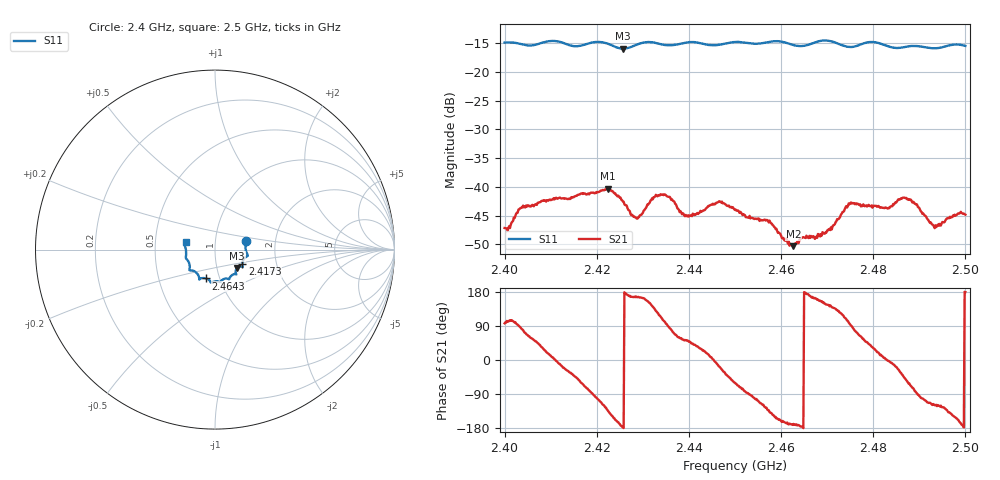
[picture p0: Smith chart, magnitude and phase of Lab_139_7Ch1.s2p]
# Hz S RI R 50
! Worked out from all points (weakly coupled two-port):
!   601 points, 2.4 GHz to 2.5 GHz, reference 50 ohm
!   highest |S21| = -40.33 dB at 2.4223 GHz (marker M1); lowest = -50.3 dB at 2.4627 GHz (marker M2)
!   lowest |S11| = -15.9 dB at 2.4257 GHz (marker M3), VSWR 1.38, Z = 62.4 - j13.1 ohm
!   |S11| at or under -10 dB: start of sweep to end of sweep
!   S12 and S22 are empty: the file has one direction only
!   S11 on the Smith chart (normalised r, x): 2.4 GHz: 1.41, +0.15; 2.4173 GHz: 1.34, -0.23; 2.4643 GHz: 0.86, -0.28; 2.5 GHz: 0.72, +0.06
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2.4e9  0.1735 0.0499  -0.000521 0.00435  0 0  0 0
2.403833e9  0.1721 0.0268  0.00104 0.00652  0 0  0 0
2.416667e9  0.1531 -0.0743  0.00432 -0.00762  0 0  0 0
2.417333e9  0.1526 -0.0818  0.00314 -0.00818  0 0  0 0
2.422333e9  0.15 -0.0941  -0.00647 -0.00714  0 0  0 0
2.425667e9  0.1224 -0.1026  -0.00746 -0.00025  0 0  0 0
2.428667e9  0.1155 -0.129  -0.00514 0.00129  0 0  0 0
2.433333e9  0.1127 -0.1365  -0.00459 0.00708  0 0  0 0
2.4355e9  0.0979 -0.1401  0.00015 0.00821  0 0  0 0
2.4395e9  0.0806 -0.1619  0.00351 0.00435  0 0  0 0
2.446667e9  0.0422 -0.168  0.00712 -0.00232  0 0  0 0
2.45e9  0.0295 -0.1805  0.00315 -0.00545  0 0  0 0
2.457333e9  -0.0155 -0.1821  -0.00333 -0.00359  0 0  0 0
2.462667e9  -0.0337 -0.1687  -0.00298 -0.000594  0 0  0 0
2.464333e9  -0.0504 -0.1606  -0.00358 -0.000272  0 0  0 0
2.466667e9  -0.0763 -0.1597  -0.00354 0.00097  0 0  0 0
2.470667e9  -0.0871 -0.1647  -0.00341 0.00245  0 0  0 0
2.475167e9  -0.1083 -0.1247  -0.000113 0.00731  0 0  0 0
2.483333e9  -0.141 -0.0896  0.00657 -0.000251  0 0  0 0
2.487667e9  -0.1592 -0.0523  0.00362 -0.0068  0 0  0 0
2.493333e9  -0.1608 -0.00987  -0.00213 -0.00381  0 0  0 0
2.5e9  -0.1636 0.042  -0.00572 9.25e-05  0 0  0 0
